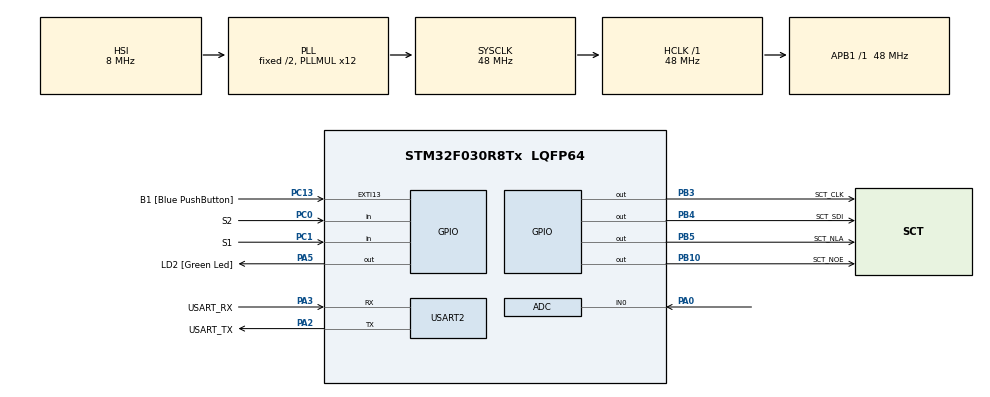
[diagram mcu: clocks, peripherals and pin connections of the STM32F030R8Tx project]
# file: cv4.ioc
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ADC.ContinuousConvMode=ENABLE
ADC.Overrun=ADC_OVR_DATA_OVERWRITTEN
ADC.SamplingTime=ADC_SAMPLETIME_239CYCLES_5
Mcu.Family=STM32F0
Mcu.Name=STM32F030R8Tx
Mcu.Package=LQFP64
NVIC.ADC1_IRQn=true\:0\:0\:false\:false\:true\:true\:true
PA0.Mode=IN0
PA0.Signal=ADC_IN0
PA13.GPIO_Label=TMS
PA13.Mode=Serial_Wire
PA13.Signal=SYS_SWDIO
PA14.GPIO_Label=TCK
PA14.Mode=Serial_Wire
PA14.Signal=SYS_SWCLK
PA2.GPIO_Label=USART_TX
PA2.GPIO_Mode=GPIO_MODE_AF_PP
PA2.GPIO_PuPd=GPIO_NOPULL
PA2.GPIO_Speed=GPIO_SPEED_FREQ_LOW
PA2.Mode=Asynchronous
PA2.Signal=USART2_TX
PA3.GPIO_Label=USART_RX
PA3.GPIO_Mode=GPIO_MODE_AF_PP
PA3.GPIO_PuPd=GPIO_NOPULL
PA3.GPIO_Speed=GPIO_SPEED_FREQ_LOW
PA3.Mode=Asynchronous
PA3.Signal=USART2_RX
PA5.GPIO_Label=LD2 [Green Led]
PA5.GPIO_Mode=GPIO_MODE_OUTPUT_PP
PA5.GPIO_PuPd=GPIO_NOPULL
PA5.GPIO_Speed=GPIO_SPEED_FREQ_LOW
PA5.Signal=GPIO_Output
PB10.GPIO_Label=SCT_NOE
PB10.Signal=GPIO_Output
PB3.GPIO_Label=SCT_CLK
PB3.Signal=GPIO_Output
PB4.GPIO_Label=SCT_SDI
PB4.Signal=GPIO_Output
PB5.GPIO_Label=SCT_NLA
PB5.Signal=GPIO_Output
PC0.GPIO_Label=S2
PC0.GPIO_PuPd=GPIO_PULLUP
PC0.Signal=GPIO_Input
PC1.GPIO_Label=S1
PC1.GPIO_PuPd=GPIO_PULLUP
PC1.Signal=GPIO_Input
PC13.GPIO_Label=B1 [Blue PushButton]
PC13.GPIO_ModeDefaultEXTI=GPIO_MODE_IT_FALLING
PC13.Signal=GPXTI13
PC14-OSC32_IN.Mode=LSE-External-Oscillator
PC14-OSC32_IN.Signal=RCC_OSC32_IN
PC15-OSC32_OUT.Mode=LSE-External-Oscillator
PC15-OSC32_OUT.Signal=RCC_OSC32_OUT
PF0-OSC_IN.Mode=HSE-External-Clock-Source
PF0-OSC_IN.Signal=RCC_OSC_IN
PF1-OSC_OUT.Signal=RCC_OSC_OUT
ProjectManager.HeapSize=0x200
ProjectManager.StackSize=0x400
ProjectManager.TargetToolchain=STM32CubeIDE
RCC.AHBFreq_Value=48000000
RCC.APB1Freq_Value=48000000
RCC.APB1TimFreq_Value=48000000
RCC.HCLKFreq_Value=48000000
RCC.PLLMUL=RCC_PLL_MUL12
RCC.SYSCLKFreq_VALUE=48000000
RCC.SYSCLKSource=RCC_SYSCLKSOURCE_PLLCLK
USART2.VirtualMode-Asynchronous=VM_ASYNC
VP_ADC_TempSens_Input.Mode=IN-TempSens
VP_ADC_Vref_Input.Mode=IN-Vrefint
board=NUCLEO-F030R8

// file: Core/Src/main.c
/* USER CODE BEGIN Header */
/**
  ******************************************************************************
  * @file           : main.c
  * @brief          : Main program body
  ******************************************************************************
  * @attention
  *
  * <h2><center>&copy; Copyright (c) 2020 STMicroelectronics.
  * All rights reserved.</center></h2>
  *
  * This software component is licensed by ST under BSD 3-Clause license,
  * the "License"; You may not use this file except in compliance with the
  * License. You may obtain a copy of the License at:
  *                        opensource.org/licenses/BSD-3-Clause
  *
  ******************************************************************************
  */
/* USER CODE END Header */

#include "main.h"

/* USER CODE BEGIN Includes */
#include "sct.h"
/* USER CODE END Includes */

/* USER CODE BEGIN PD */
#define ADC_Q 12
#define DELAY 1000

#define TEMP110_CAL_ADDR ((uint16_t*) ((uint32_t) 0x1FFFF7C2))
#define TEMP30_CAL_ADDR  ((uint16_t*) ((uint32_t) 0x1FFFF7B8))

/* Internal voltage reference calibration value address */
#define VREFINT_CAL_ADDR ((uint16_t*) ((uint32_t) 0x1FFFF7BA))
/* USER CODE END PD */

ADC_HandleTypeDef hadc;

UART_HandleTypeDef huart2;

void SystemClock_Config(void);
static void MX_GPIO_Init(void);
static void MX_USART2_UART_Init(void);
static void MX_ADC_Init(void);

/* USER CODE BEGIN 0 */
static volatile uint32_t raw_pot;
static volatile uint32_t raw_temp;
static volatile uint32_t raw_volt;

void HAL_ADC_ConvCpltCallback(ADC_HandleTypeDef* hadc)
{
	static uint32_t avg_pot;
	static uint8_t channel;

	if (channel == 0 ) {
		raw_pot = HAL_ADC_GetValue(hadc);
		raw_pot = avg_pot >> ADC_Q;
		avg_pot -= raw_pot;
		avg_pot += HAL_ADC_GetValue(hadc);
	}
	else if (channel == 1) {
		raw_temp = HAL_ADC_GetValue(hadc);
	}
	else
		raw_volt = HAL_ADC_GetValue(hadc);

	if (__HAL_ADC_GET_FLAG(hadc, ADC_FLAG_EOS)) channel = 0; else channel++;
}

/* USER CODE END 0 */

int main(void)
{

  /* MCU Configuration--------------------------------------------------------*/

  /* Reset of all peripherals, Initializes the Flash interface and the Systick. */
  HAL_Init();

  /* USER CODE BEGIN Init */
  uint32_t conv_pot;
  uint8_t led;
  int32_t temperature;
  uint32_t voltage;

  /* USER CODE END Init */

  /* Configure the system clock */
  SystemClock_Config();

  /* Initialize all configured peripherals */
  MX_GPIO_Init();
  MX_USART2_UART_Init();
  MX_ADC_Init();
  /* USER CODE BEGIN 2 */
  sct_init();
  sct_led(0x7A5C36DE);
  HAL_ADCEx_Calibration_Start(&hadc);
  HAL_ADC_Start_IT(&hadc);

  /* USER CODE END 2 */

  /* Infinite loop */
  while (1)
  {

    /* USER CODE BEGIN 3 */
	  static enum { SHOW_POT, SHOW_VOLT, SHOW_TEMP } state = SHOW_POT;
	  static uint32_t Tick = 0;

	  if (HAL_GPIO_ReadPin(S1_GPIO_Port, S1_Pin) == 0) {
		  state = SHOW_TEMP;
		  Tick = HAL_GetTick();
	  }

	  if (HAL_GPIO_ReadPin(S2_GPIO_Port, S2_Pin) == 0) {
		  state = SHOW_VOLT;
		  Tick = HAL_GetTick();
	  }

	  if (Tick + DELAY < HAL_GetTick())
		  state = SHOW_POT;

	  switch(state) {
	  case SHOW_POT:
		  conv_pot = (raw_pot*500)/4096;
	  	  led = raw_pot/512;
	  	  sct_value(conv_pot, led);
	  	  HAL_Delay(50);
	  	  break;
	  case SHOW_TEMP:
		  temperature = (raw_temp - (int32_t)(*TEMP30_CAL_ADDR));

		  temperature = temperature * (int32_t)(110 - 30);
		  temperature = temperature / (int32_t)(*TEMP110_CAL_ADDR - *TEMP30_CAL_ADDR);
		  temperature = temperature + 30;

		  sct_value(temperature, 0);
		  break;
	  case SHOW_VOLT:
		  voltage = 330 * (*VREFINT_CAL_ADDR) / raw_volt;
		  sct_value(voltage, 0);
		  break;
	  default:
		  continue;
	  }

//	  if (state == SHOW_POT) {
//		  conv_pot = (raw_pot*500)/4096;
//	  	  led = raw_pot/512;
//	  	  sct_value(conv_pot, led);
//	  	  HAL_Delay(50);
//
//	  }
//	  else if (state == SHOW_VOLT) {
//		  uint32_t voltage = 330 * (*VREFINT_CAL_ADDR) / raw_volt;
//		  sct_value(voltage, 0);
//	  }
//	  else if(state == SHOW_TEMP) {
//		  int32_t temperature = (raw_temp - (int32_t)(*TEMP30_CAL_ADDR));
//
//		  temperature = temperature * (int32_t)(110 - 30);
//		  temperature = temperature / (int32_t)(*TEMP110_CAL_ADDR - *TEMP30_CAL_ADDR);
//		  temperature = temperature + 30;
//	  }

  }
  /* USER CODE END 3 */
}

void SystemClock_Config(void)
{
  RCC_OscInitTypeDef RCC_OscInitStruct = {0};
  RCC_ClkInitTypeDef RCC_ClkInitStruct = {0};

  /** Initializes the CPU, AHB and APB busses clocks
  */
  RCC_OscInitStruct.OscillatorType = RCC_OSCILLATORTYPE_HSI|RCC_OSCILLATORTYPE_HSI14;
  RCC_OscInitStruct.HSIState = RCC_HSI_ON;
  RCC_OscInitStruct.HSI14State = RCC_HSI14_ON;
  RCC_OscInitStruct.HSICalibrationValue = RCC_HSICALIBRATION_DEFAULT;
  RCC_OscInitStruct.HSI14CalibrationValue = 16;
  RCC_OscInitStruct.PLL.PLLState = RCC_PLL_ON;
  RCC_OscInitStruct.PLL.PLLSource = RCC_PLLSOURCE_HSI;
  RCC_OscInitStruct.PLL.PLLMUL = RCC_PLL_MUL12;
  RCC_OscInitStruct.PLL.PREDIV = RCC_PREDIV_DIV1;
  if (HAL_RCC_OscConfig(&RCC_OscInitStruct) != HAL_OK)
  {
    Error_Handler();
  }
  /** Initializes the CPU, AHB and APB busses clocks
  */
  RCC_ClkInitStruct.ClockType = RCC_CLOCKTYPE_HCLK|RCC_CLOCKTYPE_SYSCLK
                              |RCC_CLOCKTYPE_PCLK1;
  RCC_ClkInitStruct.SYSCLKSource = RCC_SYSCLKSOURCE_PLLCLK;
  RCC_ClkInitStruct.AHBCLKDivider = RCC_SYSCLK_DIV1;
  RCC_ClkInitStruct.APB1CLKDivider = RCC_HCLK_DIV1;

  if (HAL_RCC_ClockConfig(&RCC_ClkInitStruct, FLASH_LATENCY_1) != HAL_OK)
  {
    Error_Handler();
  }
}

static void MX_ADC_Init(void)
{

  ADC_ChannelConfTypeDef sConfig = {0};

  /** Configure the global features of the ADC (Clock, Resolution, Data Alignment and number of conversion)
  */
  hadc.Instance = ADC1;
  hadc.Init.ClockPrescaler = ADC_CLOCK_ASYNC_DIV1;
  hadc.Init.Resolution = ADC_RESOLUTION_12B;
  hadc.Init.DataAlign = ADC_DATAALIGN_RIGHT;
  hadc.Init.ScanConvMode = ADC_SCAN_DIRECTION_FORWARD;
  hadc.Init.EOCSelection = ADC_EOC_SINGLE_CONV;
  hadc.Init.LowPowerAutoWait = DISABLE;
  hadc.Init.LowPowerAutoPowerOff = DISABLE;
  hadc.Init.ContinuousConvMode = ENABLE;
  hadc.Init.DiscontinuousConvMode = DISABLE;
  hadc.Init.ExternalTrigConv = ADC_SOFTWARE_START;
  hadc.Init.ExternalTrigConvEdge = ADC_EXTERNALTRIGCONVEDGE_NONE;
  hadc.Init.DMAContinuousRequests = DISABLE;
  hadc.Init.Overrun = ADC_OVR_DATA_OVERWRITTEN;
  if (HAL_ADC_Init(&hadc) != HAL_OK)
  {
    Error_Handler();
  }
  /** Configure for the selected ADC regular channel to be converted.
  */
  sConfig.Channel = ADC_CHANNEL_0;
  sConfig.Rank = ADC_RANK_CHANNEL_NUMBER;
  sConfig.SamplingTime = ADC_SAMPLETIME_239CYCLES_5;
  if (HAL_ADC_ConfigChannel(&hadc, &sConfig) != HAL_OK)
  {
    Error_Handler();
  }
  /** Configure for the selected ADC regular channel to be converted.
  */
  sConfig.Channel = ADC_CHANNEL_TEMPSENSOR;
  if (HAL_ADC_ConfigChannel(&hadc, &sConfig) != HAL_OK)
  {
    Error_Handler();
  }
  /** Configure for the selected ADC regular channel to be converted.
  */
  sConfig.Channel = ADC_CHANNEL_VREFINT;
  if (HAL_ADC_ConfigChannel(&hadc, &sConfig) != HAL_OK)
  {
    Error_Handler();
  }

}

static void MX_USART2_UART_Init(void)
{

  huart2.Instance = USART2;
  huart2.Init.BaudRate = 38400;
  huart2.Init.WordLength = UART_WORDLENGTH_8B;
  huart2.Init.StopBits = UART_STOPBITS_1;
  huart2.Init.Parity = UART_PARITY_NONE;
  huart2.Init.Mode = UART_MODE_TX_RX;
  huart2.Init.HwFlowCtl = UART_HWCONTROL_NONE;
  huart2.Init.OverSampling = UART_OVERSAMPLING_16;
  huart2.Init.OneBitSampling = UART_ONE_BIT_SAMPLE_DISABLE;
  huart2.AdvancedInit.AdvFeatureInit = UART_ADVFEATURE_NO_INIT;
  if (HAL_UART_Init(&huart2) != HAL_OK)
  {
    Error_Handler();
  }

}

static void MX_GPIO_Init(void)
{
  GPIO_InitTypeDef GPIO_InitStruct = {0};

  /* GPIO Ports Clock Enable */
  __HAL_RCC_GPIOC_CLK_ENABLE();
  __HAL_RCC_GPIOF_CLK_ENABLE();
  __HAL_RCC_GPIOA_CLK_ENABLE();
  __HAL_RCC_GPIOB_CLK_ENABLE();

  /*Configure GPIO pin Output Level */
  HAL_GPIO_WritePin(LD2_GPIO_Port, LD2_Pin, GPIO_PIN_RESET);

  /*Configure GPIO pin Output Level */
  HAL_GPIO_WritePin(GPIOB, SCT_NOE_Pin|SCT_CLK_Pin|SCT_SDI_Pin|SCT_NLA_Pin, GPIO_PIN_RESET);

  /*Configure GPIO pin : B1_Pin */
  GPIO_InitStruct.Pin = B1_Pin;
  GPIO_InitStruct.Mode = GPIO_MODE_IT_FALLING;
  GPIO_InitStruct.Pull = GPIO_NOPULL;
  HAL_GPIO_Init(B1_GPIO_Port, &GPIO_InitStruct);

  /*Configure GPIO pins : S2_Pin S1_Pin */
  GPIO_InitStruct.Pin = S2_Pin|S1_Pin;
  GPIO_InitStruct.Mode = GPIO_MODE_INPUT;
  GPIO_InitStruct.Pull = GPIO_PULLUP;
  HAL_GPIO_Init(GPIOC, &GPIO_InitStruct);

  /*Configure GPIO pin : LD2_Pin */
  GPIO_InitStruct.Pin = LD2_Pin;
  GPIO_InitStruct.Mode = GPIO_MODE_OUTPUT_PP;
  GPIO_InitStruct.Pull = GPIO_NOPULL;
  GPIO_InitStruct.Speed = GPIO_SPEED_FREQ_LOW;
  HAL_GPIO_Init(LD2_GPIO_Port, &GPIO_InitStruct);

  /*Configure GPIO pins : SCT_NOE_Pin SCT_CLK_Pin SCT_SDI_Pin SCT_NLA_Pin */
  GPIO_InitStruct.Pin = SCT_NOE_Pin|SCT_CLK_Pin|SCT_SDI_Pin|SCT_NLA_Pin;
  GPIO_InitStruct.Mode = GPIO_MODE_OUTPUT_PP;
  GPIO_InitStruct.Pull = GPIO_NOPULL;
  GPIO_InitStruct.Speed = GPIO_SPEED_FREQ_LOW;
  HAL_GPIO_Init(GPIOB, &GPIO_InitStruct);

}

void Error_Handler(void)
{
}

/************************ (C) COPYRIGHT STMicroelectronics *****END OF FILE****/
